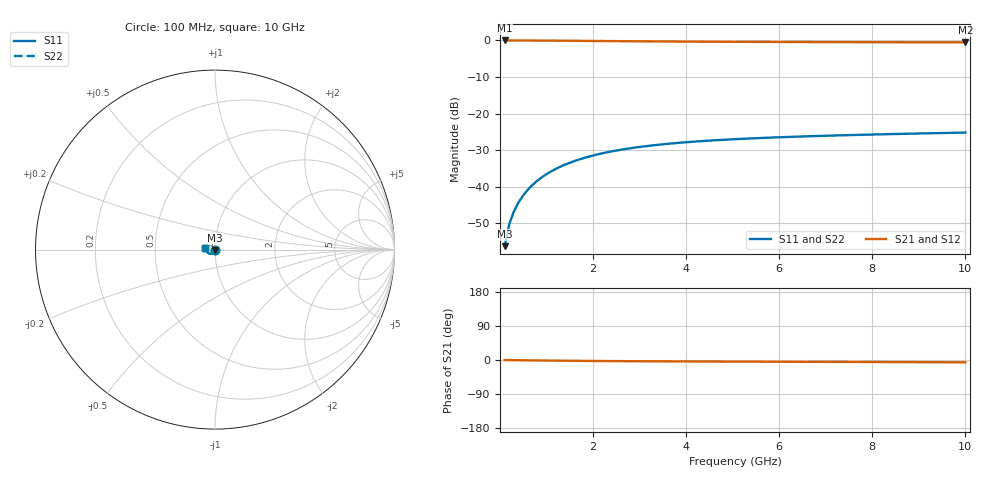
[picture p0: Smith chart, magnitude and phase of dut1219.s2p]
! Touchstone file exported from HFSS 2024.1.0
!  File:  C:/UserFiles/LocalFiles/RDL_TSV_Batchsim/temp_TSV1_1219_1780249257.aedt
!  Generated:  01:47:12 AM Jun  1, 2026
!  Design:  TSV1
!  Project:  temp_TSV1_1219_1780249257
!  Setup:  Setup1
!  Solution:  Sweep
! Variables:
!  dtsv = 11.03um
!  hbump = 3um
!  htsv = 95.6um
!  lrdl = 252.1521522um
!  p = 40
!  p1 = 56.87um
!  t = 500um
!  trdl = 3um
!  wrdl = 24.89489489um
# GHz S MA R 50.000000
! Terminal data exported
! Port[1] = TSV22_T1
! Port[2] = TSV22_T2
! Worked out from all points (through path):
!   100 points, 100 MHz to 10 GHz, reference 50 ohm
!   highest |S21| = 0.00 dB at 100 MHz (marker M1); lowest = -0.5 dB at 10 GHz (marker M2)
!   lowest |S11| = -56.2 dB at 100 MHz (marker M3), VSWR 1.00, Z = 50 - j0.155 ohm
!   |S11| at or under -10 dB: start of sweep to end of sweep
!   |S22| runs from -56.2 to -25.2 dB; largest |S21 - S12| = 2.4e-15
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0.1  0.001547 -87.1  0.9998 -0.2  0.9998 -0.2  0.001547 -87.1
! Gamma 0 0 0 0
! Port Impedance 50 0 50 0
0.2  0.003085 -91.3  0.9996 -0.3  0.9996 -0.3  0.003085 -91.3
0.3  0.004621 -94.1  0.9994 -0.5  0.9994 -0.5  0.004621 -94.1
0.4  0.00615 -96.4  0.999 -0.6  0.999 -0.6  0.00615 -96.4
0.5  0.007665 -98.6  0.9985 -0.8  0.9985 -0.8  0.007665 -98.6
0.6  0.009163 -100.7  0.9979 -0.9  0.9979 -0.9  0.009163 -100.7
0.7  0.01064 -102.7  0.9973 -1.1  0.9973 -1.1  0.01064 -102.7
0.8  0.01209 -104.7  0.9965 -1.2  0.9965 -1.2  0.01209 -104.7
0.9  0.01351 -106.7  0.9957 -1.3  0.9957 -1.3  0.01351 -106.7
1.1  0.01626 -110.5  0.994 -1.6  0.994 -1.6  0.01626 -110.5
1.4  0.02012 -115.9  0.9909 -1.9  0.9909 -1.9  0.02012 -115.9
1.6  0.0225 -119.3  0.9887 -2.2  0.9887 -2.2  0.0225 -119.3
1.8  0.02472 -122.6  0.9865 -2.4  0.9865 -2.4  0.02472 -122.6
2.1  0.02777 -127.2  0.983 -2.6  0.983 -2.6  0.02777 -127.2
2.5  0.03133 -132.9  0.9786 -2.9  0.9786 -2.9  0.03133 -132.9
2.9  0.03438 -138.1  0.9743 -3.2  0.9743 -3.2  0.03437 -138.1
3.4  0.03756 -143.9  0.9696 -3.5  0.9696 -3.5  0.03756 -143.9
4.2  0.04157 -152.0  0.9631 -3.9  0.9631 -3.9  0.04157 -152.0
5.1  0.04495 -159.6  0.9575 -4.2  0.9575 -4.2  0.04495 -159.6
6.7  0.04923 -170.5  0.9505 -4.8  0.9505 -4.8  0.04923 -170.5
8.4  0.05256 -179.8  0.9458 -5.5  0.9458 -5.5  0.05256 -179.8
10  0.05516 172.8  0.9427 -6.1  0.9427 -6.1  0.05516 172.8
